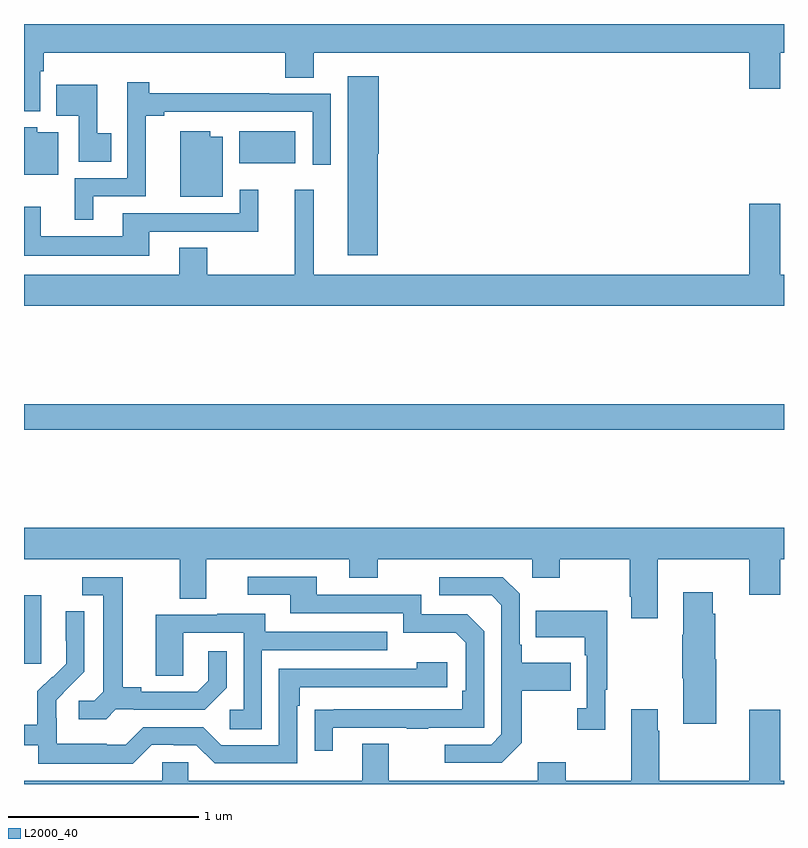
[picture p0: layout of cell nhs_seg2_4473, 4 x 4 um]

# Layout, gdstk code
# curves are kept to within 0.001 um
import gdstk
lib = gdstk.Library(unit=1e-6, precision=1e-09)
def R(c, l, rs):  # rectangles x0, y0, x1, y1
    for r in rs: c.add(gdstk.rectangle(r[:2], r[2:], *l))
def P(c, l, *ps):  # polygons
    for p in ps: c.add(gdstk.Polygon(p, *l))
L2000_40 = (2000, 40)

nhs_seg2_4473 = lib.new_cell('nhs_seg2_4473')
R(nhs_seg2_4473, L2000_40, [(353,632.433,353.092,632.794), (353,633.664,357,633.8), (354.134,635.066,354.427,635.236)])
P(nhs_seg2_4473, L2000_40, [(353.085,635.552),(353.105,635.552),(353.105,635.648),(354.374,635.648),(354.374,635.518),(354.526,635.518),(354.526,635.648),(356.816,635.648),(356.816,635.46),(356.98,635.46),(356.98,635.648),(357,635.648),(357,635.8),(353,635.8),(353,635.342),(353.085,635.342)],
  [(354.863,635.118),(354.868,635.118),(354.868,635.524),(354.704,635.524),(354.704,634.584),(354.863,634.584)],
  [(353.365,634.893),(353.642,634.893),(353.642,635.317),(353.737,635.317),(353.737,635.337),(354.519,635.337),(354.519,635.058),(354.615,635.058),(354.615,635.433),(354.29,635.433),(354.29,635.435),(353.66,635.435),(353.66,635.494),(353.544,635.494),(353.544,634.989),(353.267,634.989),(353.267,634.769),(353.365,634.769)],
  [(353.459,635.226),(353.386,635.226),(353.386,635.479),(353.17,635.479),(353.17,635.318),(353.289,635.318),(353.289,635.074),(353.459,635.074)],
  [(353.179,635.23),(353.07,635.23),(353.07,635.257),(353,635.257),(353,635.006),(353.179,635.006)],
  [(354.046,635.206),(353.98,635.206),(353.98,635.236),(353.822,635.236),(353.822,634.892),(354.046,634.892)],
  [(357,634.48),(356.98,634.48),(356.98,634.855),(356.816,634.855),(356.816,634.48),(354.524,634.48),(354.524,634.927),(354.425,634.927),(354.425,634.48),(353.964,634.48),(353.964,634.622),(353.816,634.622),(353.816,634.48),(353,634.48),(353,634.316),(357,634.316)],
  [(353.659,634.707),(354.233,634.707),(354.233,634.927),(354.135,634.927),(354.135,634.803),(353.519,634.803),(353.519,634.684),(353.089,634.684),(353.089,634.837),(353,634.837),(353,634.58),(353.659,634.58)],
  [(356.335,632.984),(356.816,632.984),(356.816,632.796),(356.98,632.796),(356.98,632.984),(357,632.984),(357,633.148),(353,633.148),(353,632.984),(353.819,632.984),(353.819,632.776),(353.959,632.776),(353.959,632.984),(354.713,632.984),(354.713,632.885),(354.861,632.885),(354.861,632.984),(355.674,632.984),(355.674,632.885),(355.821,632.885),(355.821,632.984),(356.188,632.984),(356.188,632.785),(356.195,632.785),(356.195,632.673),(356.335,632.673)],
  [(354.625,632.097),(355.015,632.097),(355.015,632.092),(355.127,632.092),(355.127,632.097),(355.422,632.097),(355.422,632.604),(355.332,632.694),(355.092,632.694),(355.092,632.796),(354.541,632.796),(354.541,632.892),(354.177,632.892),(354.177,632.796),(354.401,632.796),(354.401,632.7),(354.996,632.7),(354.996,632.597),(355.273,632.597),(355.326,632.544),(355.326,632.29),(355.306,632.29),(355.306,632.193),(354.529,632.192),(354.529,631.974),(354.625,631.974)],
  [(353.484,632.193),(353.578,632.193),(353.578,632.19),(353.95,632.19),(354.066,632.306),(354.066,632.5),(353.969,632.5),(353.969,632.343),(353.912,632.286),(353.617,632.286),(353.617,632.309),(353.521,632.309),(353.521,632.889),(353.307,632.889),(353.307,632.793),(353.417,632.793),(353.417,632.285),(353.37,632.238),(353.289,632.238),(353.289,632.141),(353.432,632.141)],
  [(355.621,632.017),(355.621,632.29),(355.877,632.29),(355.877,632.437),(355.621,632.437),(355.621,632.533),(355.608,632.533),(355.608,632.802),(355.521,632.889),(355.185,632.889),(355.185,632.793),(355.461,632.793),(355.512,632.742),(355.512,632.061),(355.458,632.007),(355.215,632.007),(355.215,631.911),(355.515,631.911)],
  [(356.644,632.457),(356.639,632.457),(356.639,632.696),(356.626,632.696),(356.626,632.809),(356.471,632.809),(356.471,632.585),(356.464,632.585),(356.464,632.357),(356.471,632.357),(356.471,632.117),(356.644,632.117)],
  [(356.059,632.297),(356.071,632.297),(356.071,632.713),(355.693,632.713),(355.693,632.573),(355.95,632.573),(355.95,632.477),(355.962,632.477),(355.962,632.198),(355.911,632.198),(355.911,632.085),(356.059,632.085)],
  [(353.673,632.007),(353.789,632.007),(353.789,632.004),(353.907,632.004),(354.003,631.908),(354.438,631.908),(354.438,632.213),(354.451,632.213),(354.451,632.31),(355.228,632.31),(355.228,632.44),(355.067,632.44),(355.067,632.406),(354.342,632.406),(354.342,632.004),(354.039,632.004),(353.943,632.1),(353.628,632.1),(353.535,632.007),(353.435,632.007),(353.435,632.011),(353.172,632.011),(353.172,632.145),(353.17,632.145),(353.17,632.242),(353.316,632.39),(353.316,632.708),(353.22,632.708),(353.22,632.554),(353.222,632.554),(353.222,632.432),(353.151,632.361),(353.148,632.364),(353.071,632.287),(353.071,632.113),(353,632.113),(353,632.004),(353.076,632.004),(353.076,631.907),(353.573,631.907)],
  [(354.252,632.505),(354.911,632.505),(354.911,632.601),(354.271,632.601),(354.271,632.695),(354.017,632.695),(354.017,632.691),(353.693,632.691),(353.693,632.371),(353.838,632.371),(353.838,632.595),(354.156,632.595),(354.156,632.19),(354.084,632.19),(354.084,632.089),(354.252,632.089)],
  [(357,631.816),(356.98,631.816),(356.98,632.191),(356.816,632.191),(356.816,631.816),(356.343,631.816),(356.343,632.081),(356.335,632.081),(356.335,632.194),(356.195,632.194),(356.195,631.816),(355.851,631.816),(355.851,631.915),(355.703,631.915),(355.703,631.816),(354.919,631.816),(354.919,632.011),(354.779,632.011),(354.779,631.816),(353.865,631.816),(353.865,631.914),(353.727,631.914),(353.727,631.816),(353,631.816),(353,631.8),(357,631.8)])

lib.write_gds('nhs_seg2_4473.gds')
